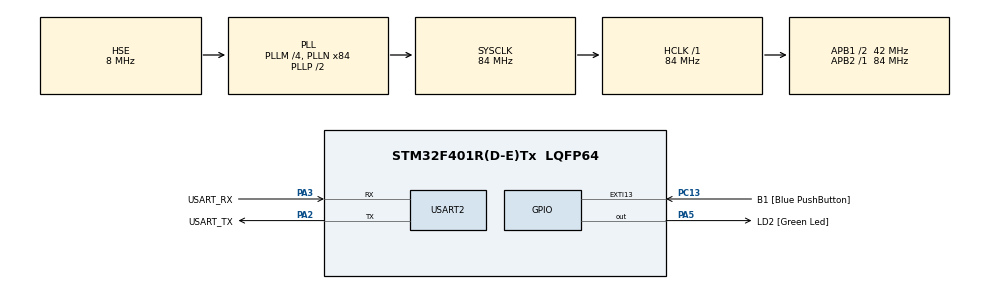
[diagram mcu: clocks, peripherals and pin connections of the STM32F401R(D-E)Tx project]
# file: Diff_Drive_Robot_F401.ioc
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Dma.Request0=USART2_RX
Dma.Request1=USART2_TX
Dma.USART2_RX.0.Direction=DMA_PERIPH_TO_MEMORY
Dma.USART2_RX.0.FIFOMode=DMA_FIFOMODE_DISABLE
Dma.USART2_RX.0.Instance=DMA1_Stream5
Dma.USART2_RX.0.MemDataAlignment=DMA_MDATAALIGN_BYTE
Dma.USART2_RX.0.MemInc=DMA_MINC_ENABLE
Dma.USART2_RX.0.Mode=DMA_CIRCULAR
Dma.USART2_RX.0.PeriphDataAlignment=DMA_PDATAALIGN_BYTE
Dma.USART2_RX.0.PeriphInc=DMA_PINC_DISABLE
Dma.USART2_RX.0.Priority=DMA_PRIORITY_VERY_HIGH
Dma.USART2_TX.1.Direction=DMA_MEMORY_TO_PERIPH
Dma.USART2_TX.1.FIFOMode=DMA_FIFOMODE_DISABLE
Dma.USART2_TX.1.Instance=DMA1_Stream6
Dma.USART2_TX.1.MemDataAlignment=DMA_MDATAALIGN_BYTE
Dma.USART2_TX.1.MemInc=DMA_MINC_ENABLE
Dma.USART2_TX.1.Mode=DMA_NORMAL
Dma.USART2_TX.1.PeriphDataAlignment=DMA_PDATAALIGN_BYTE
Dma.USART2_TX.1.PeriphInc=DMA_PINC_DISABLE
Dma.USART2_TX.1.Priority=DMA_PRIORITY_VERY_HIGH
FREERTOS.Tasks01=defaultTask,24,4096,StartDefaultTask,Default,NULL,Static,defaultTaskBuffer,defaultTaskControlBlock
FREERTOS.configMINIMAL_STACK_SIZE=128
FREERTOS.configTOTAL_HEAP_SIZE=4096
FREERTOS.configUSE_NEWLIB_REENTRANT=1
Mcu.Family=STM32F4
Mcu.Name=STM32F401R(D-E)Tx
Mcu.Package=LQFP64
NVIC.DMA1_Stream5_IRQn=true\:5\:0\:false\:false\:true\:true\:false\:true\:true
NVIC.DMA1_Stream6_IRQn=true\:5\:0\:false\:false\:true\:true\:false\:true\:true
NVIC.PriorityGroup=NVIC_PRIORITYGROUP_4
NVIC.TIM1_UP_TIM10_IRQn=true\:15\:0\:false\:false\:true\:false\:false\:true\:true
NVIC.TimeBase=TIM1_UP_TIM10_IRQn
NVIC.TimeBaseIP=TIM1
NVIC.USART2_IRQn=true\:5\:0\:false\:false\:true\:true\:true\:true\:true
PA13.GPIO_Label=TMS
PA13.Mode=Trace_Asynchronous_SW
PA13.Signal=SYS_JTMS-SWDIO
PA14.GPIO_Label=TCK
PA14.Mode=Trace_Asynchronous_SW
PA14.Signal=SYS_JTCK-SWCLK
PA2.GPIO_Label=USART_TX
PA2.GPIO_Mode=GPIO_MODE_AF_PP
PA2.GPIO_PuPd=GPIO_NOPULL
PA2.GPIO_Speed=GPIO_SPEED_FREQ_LOW
PA2.Mode=Asynchronous
PA2.Signal=USART2_TX
PA3.GPIO_Label=USART_RX
PA3.GPIO_Mode=GPIO_MODE_AF_PP
PA3.GPIO_PuPd=GPIO_NOPULL
PA3.GPIO_Speed=GPIO_SPEED_FREQ_LOW
PA3.Mode=Asynchronous
PA3.Signal=USART2_RX
PA5.GPIO_Label=LD2 [Green Led]
PA5.GPIO_Mode=GPIO_MODE_OUTPUT_PP
PA5.GPIO_PuPd=GPIO_NOPULL
PA5.GPIO_Speed=GPIO_SPEED_FREQ_LOW
PA5.Signal=GPIO_Output
PB3.GPIO_Label=SWO
PB3.Mode=Trace_Asynchronous_SW
PB3.Signal=SYS_JTDO-SWO
PC13-ANTI_TAMP.GPIO_Label=B1 [Blue PushButton]
PC13-ANTI_TAMP.GPIO_ModeDefaultEXTI=GPIO_MODE_IT_FALLING
PC13-ANTI_TAMP.GPIO_PuPd=GPIO_NOPULL
PC13-ANTI_TAMP.Signal=GPXTI13
PC14-OSC32_IN.Signal=RCC_OSC32_IN
PC15-OSC32_OUT.Signal=RCC_OSC32_OUT
PH0\ -\ OSC_IN.Mode=HSE-External-Oscillator
PH0\ -\ OSC_IN.Signal=RCC_OSC_IN
PH1\ -\ OSC_OUT.Mode=HSE-External-Oscillator
PH1\ -\ OSC_OUT.Signal=RCC_OSC_OUT
ProjectManager.HeapSize=0x200
ProjectManager.StackSize=0x400
ProjectManager.TargetToolchain=STM32CubeIDE
RCC.48MHZClocksFreq_Value=24000000
RCC.AHBFreq_Value=84000000
RCC.APB1CLKDivider=RCC_HCLK_DIV2
RCC.APB1Freq_Value=42000000
RCC.APB1TimFreq_Value=84000000
RCC.APB2Freq_Value=84000000
RCC.APB2TimFreq_Value=84000000
RCC.CortexFreq_Value=84000000
RCC.HCLKFreq_Value=84000000
RCC.HSE_VALUE=8000000
RCC.HSI_VALUE=16000000
RCC.PLLM=4
RCC.PLLN=84
RCC.PLLQ=7
RCC.PLLSourceVirtual=RCC_PLLSOURCE_HSE
RCC.SYSCLKFreq_VALUE=84000000
RCC.SYSCLKSource=RCC_SYSCLKSOURCE_PLLCLK
RCC.VCOOutputFreq_Value=168000000
USART2.VirtualMode=VM_ASYNC
VP_FREERTOS_VS_CMSIS_V2.Mode=CMSIS_V2
VP_SYS_VS_tim1.Mode=TIM1
board=NUCLEO-F401RE

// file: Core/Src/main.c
/* USER CODE BEGIN Header */
/**
  ******************************************************************************
  * @file           : main.c
  * @brief          : Main program body
  ******************************************************************************
  * @attention
  *
  * Copyright (c) 2026 STMicroelectronics.
  * All rights reserved.
  *
  * This software is licensed under terms that can be found in the LICENSE file
  * in the root directory of this software component.
  * If no LICENSE file comes with this software, it is provided AS-IS.
  *
  ******************************************************************************
  */
/* USER CODE END Header */
#include "main.h"
#include "cmsis_os.h"
#include <math.h>

/* USER CODE BEGIN Includes */
#include <rcl/rcl.h>
#include <rcl/error_handling.h>
#include <rclc/rclc.h>
#include <rclc/executor.h>
#include <uxr/client/transport.h>
#include <rmw_microxrcedds_c/config.h>
#include <rmw_microros/rmw_microros.h>

#include <std_msgs/msg/int32.h>
#include <sensor_msgs/msg/imu.h>
#include <geometry_msgs/msg/twist.h>
#include <nav_msgs/msg/odometry.h>
#include <rosidl_runtime_c/string_functions.h>

#include "imu.h"
#include "encoder.h"
#include "motor.h"
#include "odom.h"
#include "pid.h"
/* USER CODE END Includes */

typedef StaticTask_t osStaticThreadDef_t;

/* USER CODE BEGIN PD */
#define TOPIC_IMU             "imu"
#define TOPIC_ENCODER_LEFT    "encoder/left"
#define TOPIC_ENCODER_RIGHT   "encoder/right"
#define TOPIC_CMD_VEL         "cmd_vel"
#define TOPIC_ODOM            "odom"

#define PUBLISH_PERIOD_MS     50    /* 20 Hz publish rate */
#define G_TO_MS2              9.80665f
#define DEG_TO_RAD            0.017453292519943295f
/* USER CODE END PD */

UART_HandleTypeDef huart2;
DMA_HandleTypeDef hdma_usart2_rx;
DMA_HandleTypeDef hdma_usart2_tx;

/* Definitions for defaultTask */
osThreadId_t defaultTaskHandle;
uint32_t defaultTaskBuffer[ 4096 ];
osStaticThreadDef_t defaultTaskControlBlock;
const osThreadAttr_t defaultTask_attributes = {
  .name = "defaultTask",
  .cb_mem = &defaultTaskControlBlock,
  .cb_size = sizeof(defaultTaskControlBlock),
  .stack_mem = &defaultTaskBuffer[0],
  .stack_size = sizeof(defaultTaskBuffer),
  .priority = (osPriority_t) osPriorityNormal,
};
/* USER CODE BEGIN PV */
static PIDController motor_pid;
static float target_linear_speed = 0.0f;
static float target_angular_speed = 0.0f;
/* USER CODE END PV */

void SystemClock_Config(void);
static void MX_GPIO_Init(void);
static void MX_DMA_Init(void);
static void MX_USART2_UART_Init(void);
void StartDefaultTask(void *argument);

/* USER CODE BEGIN PFP */
bool cubemx_transport_open(struct uxrCustomTransport * transport);
bool cubemx_transport_close(struct uxrCustomTransport * transport);
size_t cubemx_transport_write(struct uxrCustomTransport* transport, const uint8_t * buf, size_t len, uint8_t * err);
size_t cubemx_transport_read(struct uxrCustomTransport* transport, uint8_t* buf, size_t len, int timeout, uint8_t* err);

void * microros_allocate(size_t size, void * state);
void microros_deallocate(void * pointer, void * state);
void * microros_reallocate(void * pointer, size_t size, void * state);
void * microros_zero_allocate(size_t number_of_elements, size_t size_of_element, void * state);

void cmd_vel_callback(const void * msgin);
/* USER CODE END PFP */

/* USER CODE BEGIN 0 */
void cmd_vel_callback(const void * msgin)
{
  const geometry_msgs__msg__Twist * msg = (const geometry_msgs__msg__Twist *)msgin;
  target_linear_speed = (float)msg->linear.x;
  target_angular_speed = (float)msg->angular.z;
}
/* USER CODE END 0 */

int main(void)
{

  /* MCU Configuration--------------------------------------------------------*/

  /* Reset of all peripherals, Initializes the Flash interface and the Systick. */
  HAL_Init();

  /* Configure the system clock */
  SystemClock_Config();

  /* Initialize all configured peripherals */
  MX_GPIO_Init();
  MX_DMA_Init();
  MX_USART2_UART_Init();

  /* Init scheduler */
  osKernelInitialize();

  /* Create the thread(s) */
  /* creation of defaultTask */
  defaultTaskHandle = osThreadNew(StartDefaultTask, NULL, &defaultTask_attributes);

  /* Start scheduler */
  osKernelStart();

  /* We should never get here as control is now taken by the scheduler */

  /* Infinite loop */
  while (1)
  {

  }
}

void SystemClock_Config(void)
{
  RCC_OscInitTypeDef RCC_OscInitStruct = {0};
  RCC_ClkInitTypeDef RCC_ClkInitStruct = {0};

  /** Configure the main internal regulator output voltage
  */
  __HAL_RCC_PWR_CLK_ENABLE();
  __HAL_PWR_VOLTAGESCALING_CONFIG(PWR_REGULATOR_VOLTAGE_SCALE2);

  /** Initializes the RCC Oscillators according to the specified parameters
  * in the RCC_OscInitTypeDef structure.
  */
  RCC_OscInitStruct.OscillatorType = RCC_OSCILLATORTYPE_HSE;
  RCC_OscInitStruct.HSEState = RCC_HSE_ON;
  RCC_OscInitStruct.PLL.PLLState = RCC_PLL_ON;
  RCC_OscInitStruct.PLL.PLLSource = RCC_PLLSOURCE_HSE;
  RCC_OscInitStruct.PLL.PLLM = 4;
  RCC_OscInitStruct.PLL.PLLN = 84;
  RCC_OscInitStruct.PLL.PLLP = RCC_PLLP_DIV2;
  RCC_OscInitStruct.PLL.PLLQ = 7;
  if (HAL_RCC_OscConfig(&RCC_OscInitStruct) != HAL_OK)
  {
    Error_Handler();
  }

  /** Initializes the CPU, AHB and APB buses clocks
  */
  RCC_ClkInitStruct.ClockType = RCC_CLOCKTYPE_HCLK|RCC_CLOCKTYPE_SYSCLK
                              |RCC_CLOCKTYPE_PCLK1|RCC_CLOCKTYPE_PCLK2;
  RCC_ClkInitStruct.SYSCLKSource = RCC_SYSCLKSOURCE_PLLCLK;
  RCC_ClkInitStruct.AHBCLKDivider = RCC_SYSCLK_DIV1;
  RCC_ClkInitStruct.APB1CLKDivider = RCC_HCLK_DIV2;
  RCC_ClkInitStruct.APB2CLKDivider = RCC_HCLK_DIV1;

  if (HAL_RCC_ClockConfig(&RCC_ClkInitStruct, FLASH_LATENCY_2) != HAL_OK)
  {
    Error_Handler();
  }
}

static void MX_USART2_UART_Init(void)
{

  huart2.Instance = USART2;
  huart2.Init.BaudRate = 115200;
  huart2.Init.WordLength = UART_WORDLENGTH_8B;
  huart2.Init.StopBits = UART_STOPBITS_1;
  huart2.Init.Parity = UART_PARITY_NONE;
  huart2.Init.Mode = UART_MODE_TX_RX;
  huart2.Init.HwFlowCtl = UART_HWCONTROL_NONE;
  huart2.Init.OverSampling = UART_OVERSAMPLING_16;
  if (HAL_UART_Init(&huart2) != HAL_OK)
  {
    Error_Handler();
  }

}

static void MX_DMA_Init(void)
{

  /* DMA controller clock enable */
  __HAL_RCC_DMA1_CLK_ENABLE();

  /* DMA interrupt init */
  /* DMA1_Stream5_IRQn interrupt configuration */
  HAL_NVIC_SetPriority(DMA1_Stream5_IRQn, 5, 0);
  HAL_NVIC_EnableIRQ(DMA1_Stream5_IRQn);
  /* DMA1_Stream6_IRQn interrupt configuration */
  HAL_NVIC_SetPriority(DMA1_Stream6_IRQn, 5, 0);
  HAL_NVIC_EnableIRQ(DMA1_Stream6_IRQn);

}

static void MX_GPIO_Init(void)
{
  GPIO_InitTypeDef GPIO_InitStruct = {0};

  /* GPIO Ports Clock Enable */
  __HAL_RCC_GPIOC_CLK_ENABLE();
  __HAL_RCC_GPIOH_CLK_ENABLE();
  __HAL_RCC_GPIOA_CLK_ENABLE();
  __HAL_RCC_GPIOB_CLK_ENABLE();

  /*Configure GPIO pin Output Level */
  HAL_GPIO_WritePin(LD2_GPIO_Port, LD2_Pin, GPIO_PIN_RESET);

  /*Configure GPIO pin : B1_Pin */
  GPIO_InitStruct.Pin = B1_Pin;
  GPIO_InitStruct.Mode = GPIO_MODE_IT_FALLING;
  GPIO_InitStruct.Pull = GPIO_NOPULL;
  HAL_GPIO_Init(B1_GPIO_Port, &GPIO_InitStruct);

  /*Configure GPIO pin : LD2_Pin */
  GPIO_InitStruct.Pin = LD2_Pin;
  GPIO_InitStruct.Mode = GPIO_MODE_OUTPUT_PP;
  GPIO_InitStruct.Pull = GPIO_NOPULL;
  GPIO_InitStruct.Speed = GPIO_SPEED_FREQ_LOW;
  HAL_GPIO_Init(LD2_GPIO_Port, &GPIO_InitStruct);

}

void StartDefaultTask(void *argument)
{
  /* USER CODE BEGIN 5 */
  // Initialize micro-ROS custom transport with USART2 DMA
  rmw_uros_set_custom_transport(
    true,
    (void *) &huart2,
    cubemx_transport_open,
    cubemx_transport_close,
    cubemx_transport_write,
    cubemx_transport_read);

  rcl_allocator_t freeRTOS_allocator = rcutils_get_zero_initialized_allocator();
  freeRTOS_allocator.allocate = microros_allocate;
  freeRTOS_allocator.deallocate = microros_deallocate;
  freeRTOS_allocator.reallocate = microros_reallocate;
  freeRTOS_allocator.zero_allocate = microros_zero_allocate;

  if (!rcutils_set_default_allocator(&freeRTOS_allocator)) {
    // Error on default allocators
  }

  // Initialize hardware sensors
  Encoder_Init();
  Motor_Init();
  OdomState odom;
  bool imu_ok = (MPU_Init() == 1);

  // micro-ROS application setup
  rcl_allocator_t allocator = rcl_get_default_allocator();
  rclc_support_t support;
  rcl_node_t node;

  rcl_publisher_t imu_publisher;
  rcl_publisher_t left_encoder_publisher;
  rcl_publisher_t right_encoder_publisher;
  rcl_publisher_t odom_publisher;
  rcl_subscription_t cmd_vel_subscriber;

  sensor_msgs__msg__Imu imu_msg;
  std_msgs__msg__Int32 left_encoder_msg;
  std_msgs__msg__Int32 right_encoder_msg;
  geometry_msgs__msg__Twist cmd_vel_msg;
  nav_msgs__msg__Odometry odom_msg;

  rclc_executor_t executor;

  // Initialize messages
  geometry_msgs__msg__Twist__init(&cmd_vel_msg);
  sensor_msgs__msg__Imu__init(&imu_msg);
  nav_msgs__msg__Odometry__init(&odom_msg);
  rosidl_runtime_c__String__assign(&imu_msg.header.frame_id, "imu_link");
  rosidl_runtime_c__String__assign(&odom_msg.header.frame_id, "odom");
  rosidl_runtime_c__String__assign(&odom_msg.child_frame_id, "base_link");
  imu_msg.orientation.w = 1.0;
  imu_msg.orientation_covariance[0] = -1.0;  // Orientation not measured

  // Wait for micro-ROS agent connection over serial
  while (rmw_uros_ping_agent(100, 1) != RMW_RET_OK)
  {
    HAL_GPIO_TogglePin(LD2_GPIO_Port, LD2_Pin);
    osDelay(200);
  }

  // Turn on LD2 to indicate connected
  HAL_GPIO_WritePin(LD2_GPIO_Port, LD2_Pin, GPIO_PIN_SET);

  // Sync session time with agent
  rmw_uros_sync_session(1000);

  // Initialize support and node
  rclc_support_init(&support, 0, NULL, &allocator);
  rclc_node_init_default(&node, "stm32f401_node", "", &support);

  // Initialize publishers
  rclc_publisher_init_default(
    &imu_publisher,
    &node,
    ROSIDL_GET_MSG_TYPE_SUPPORT(sensor_msgs, msg, Imu),
    TOPIC_IMU);

  rclc_publisher_init_default(
    &left_encoder_publisher,
    &node,
    ROSIDL_GET_MSG_TYPE_SUPPORT(std_msgs, msg, Int32),
    TOPIC_ENCODER_LEFT);

  rclc_publisher_init_default(
    &right_encoder_publisher,
    &node,
    ROSIDL_GET_MSG_TYPE_SUPPORT(std_msgs, msg, Int32),
    TOPIC_ENCODER_RIGHT);

  rclc_publisher_init_default(
    &odom_publisher,
    &node,
    ROSIDL_GET_MSG_TYPE_SUPPORT(nav_msgs, msg, Odometry),
    TOPIC_ODOM);

  // Initialize cmd_vel subscriber
  rclc_subscription_init_default(
    &cmd_vel_subscriber,
    &node,
    ROSIDL_GET_MSG_TYPE_SUPPORT(geometry_msgs, msg, Twist),
    TOPIC_CMD_VEL);

  // Initialize executor for incoming subscription
  rclc_executor_init(&executor, &support.context, 1, &allocator);
  rclc_executor_add_subscription(
    &executor,
    &cmd_vel_subscriber,
    &cmd_vel_msg,
    &cmd_vel_callback,
    ON_NEW_DATA);

  int32_t initial_left_ticks, initial_right_ticks;
  Encoder_Read(&initial_left_ticks, &initial_right_ticks);
  Odom_Init(&odom, initial_left_ticks, initial_right_ticks);
  PID_Init(&motor_pid, initial_left_ticks, initial_right_ticks);
  uint32_t last_odom_ms = HAL_GetTick();
  for(;;)
  {
    // Process incoming ROS 2 messages (e.g. cmd_vel)
    rcl_ret_t rc = rclc_executor_spin_some(&executor, RCL_MS_TO_NS(10));

    // Read encoders and update odometry
    Encoder_Read(&left_encoder_msg.data, &right_encoder_msg.data);
    uint32_t now_ms = HAL_GetTick();
    float dt = (now_ms - last_odom_ms) / 1000.0f;
    last_odom_ms = now_ms;
    Odom_Update(&odom, left_encoder_msg.data, right_encoder_msg.data, dt);

    // Close the wheel-speed loop using encoder velocity feedback.
    PID_Update(&motor_pid,
               target_linear_speed,
               target_angular_speed,
               left_encoder_msg.data,
               right_encoder_msg.data,
               dt);

    rc = rcl_publish(&left_encoder_publisher, &left_encoder_msg, NULL);
    rc = rcl_publish(&right_encoder_publisher, &right_encoder_msg, NULL);

    int64_t time_ns = rmw_uros_epoch_nanos();
    odom_msg.header.stamp.sec = (int32_t)(time_ns / 1000000000LL);
    odom_msg.header.stamp.nanosec = (uint32_t)(time_ns % 1000000000LL);
    odom_msg.pose.pose.position.x = odom.x;
    odom_msg.pose.pose.position.y = odom.y;
    odom_msg.pose.pose.orientation.z = sinf(odom.yaw / 2.0f);
    odom_msg.pose.pose.orientation.w = cosf(odom.yaw / 2.0f);
    odom_msg.twist.twist.linear.x = odom.linear_velocity;
    odom_msg.twist.twist.angular.z = odom.angular_velocity;
    rc = rcl_publish(&odom_publisher, &odom_msg, NULL);

    // Read and publish IMU data
    if (imu_ok)
    {
      MPU_t imu_data;
      MPU_ReadData(&imu_data);

      imu_msg.header.stamp.sec = (int32_t)(time_ns / 1000000000LL);
      imu_msg.header.stamp.nanosec = (uint32_t)(time_ns % 1000000000LL);

      imu_msg.linear_acceleration.x = imu_data.accel_x * G_TO_MS2;
      imu_msg.linear_acceleration.y = imu_data.accel_y * G_TO_MS2;
      imu_msg.linear_acceleration.z = imu_data.accel_z * G_TO_MS2;

      imu_msg.angular_velocity.x = imu_data.gyro_x * DEG_TO_RAD;
      imu_msg.angular_velocity.y = imu_data.gyro_y * DEG_TO_RAD;
      imu_msg.angular_velocity.z = imu_data.gyro_z * DEG_TO_RAD;

      rc = rcl_publish(&imu_publisher, &imu_msg, NULL);
    }
    else
    {
      // Retry IMU initialization if it was not ready at startup
      imu_ok = (MPU_Init() == 1);
    }

    (void)rc;

    // Toggle heartbeat LED every 1 second
    static uint32_t blink_counter = 0;
    if (++blink_counter >= (1000 / PUBLISH_PERIOD_MS))
    {
      HAL_GPIO_TogglePin(LD2_GPIO_Port, LD2_Pin);
      blink_counter = 0;
    }

    osDelay(PUBLISH_PERIOD_MS);
  }
  /* USER CODE END 5 */
}

void HAL_TIM_PeriodElapsedCallback(TIM_HandleTypeDef *htim)
{
  if (htim->Instance == TIM1)
  {
    HAL_IncTick();
  }
}

void Error_Handler(void)
{
  __disable_irq();
  while (1)
  {
  }
}
